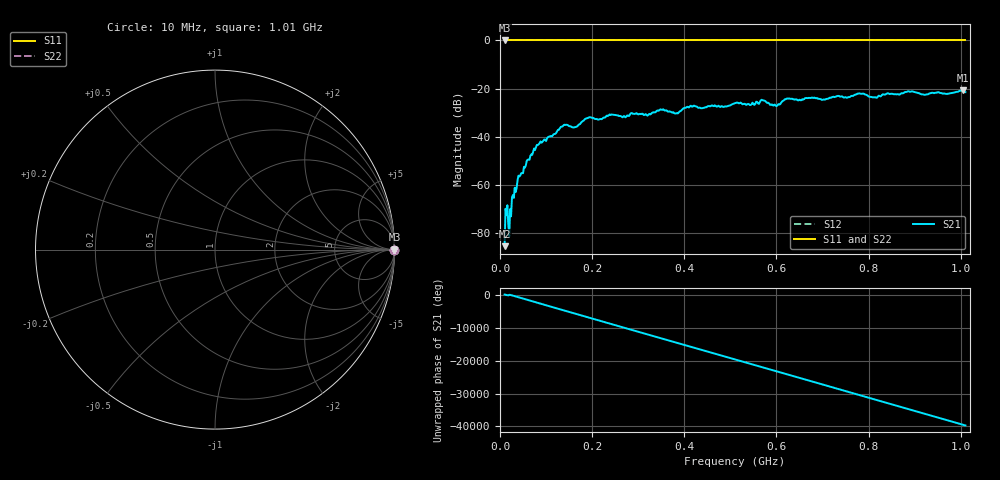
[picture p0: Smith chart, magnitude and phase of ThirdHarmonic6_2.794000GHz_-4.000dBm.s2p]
! 8/17/2025 7:14:22 AM
! C:\ANRITSUVNA\TEMP\TEMP.S2P
! CHANNEL.1
! TR.MEASUREMENT
! RAW.DATA
! RF.CORRECTION.OFF
! AVERAGING.OFF
! IF.BANDWIDTH: 5KHZ
! SWEEPTYPE:  FREQ.SWEEP(Linear)
! Reference Plane Port Info
! PORT:  PORT1  PORT2
! DISTANCE:  0  m  0  m
! TIME:  0  s  0  s
! PHASE.OFFSET:  0  deg.  0  deg.
! LOSS:  0  dB  0  dB
! REF.LOSS:  0  dB  0  dB
! REF.FREQ:  0  Hz  0  Hz
! Power Info
! POWER:  -20  dBm  -20  dBm
! EFF.POWER:  -20  dBm  -20  dBm
! SOURCE.ATTEN:  0  dB  0  dB
! TEST.ATTEN:  0  dB  0  dB
# GHZ S RI R 50.0
! FREQ.GHZ  S11RE  S11IM  S21RE  S21IM  S12RE  S12IM  S22RE  S22IM
!; PortSelection: Port_12
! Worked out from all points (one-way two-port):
!   501 points, 10 MHz to 1.01 GHz, reference 50 ohm
!   highest |S21| = -20.77 dB at 1.004 GHz (marker M1); lowest = -85.4 dB at 10 MHz (marker M2)
!   lowest |S11| = 0.0 dB at 10 MHz (marker M3)
!   |S11| at or under -10 dB: nowhere
!   |S22| runs from 0.0 to 0.0 dB; largest |S21 - S12| = 1.1
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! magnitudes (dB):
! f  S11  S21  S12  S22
! 10 MHz  0.0  -85.4  0.0  0.0
! 14 MHz  0.0  -72.4  0.0  0.0
! 22 MHz  0.0  -70.0  0.0  0.0
! 30 MHz  0.0  -65.4  0.0  0.0
! 42 MHz  0.0  -56.5  0.0  0.0
! 78 MHz  0.0  -44.4  0.0  0.0
! 136 MHz  0.0  -35.7  0.0  0.0
! 162 MHz  0.0  -36.0  0.0  0.0
! 178 MHz  0.0  -33.7  0.0  0.0
! 194 MHz  0.0  -31.8  0.0  0.0
! 322 MHz  0.0  -30.8  0.0  0.0
! 344 MHz  0.0  -29.2  0.0  0.0
! 382 MHz  0.0  -30.3  0.0  0.0
! 416 MHz  0.0  -27.4  0.0  0.0
! 510 MHz  0.0  -26.0  0.0  0.0
! 570 MHz  0.0  -24.8  0.0  0.0
! 598 MHz  0.0  -26.9  0.0  0.0
! 622 MHz  0.0  -24.2  0.0  0.0
! 678 MHz  0.0  -23.7  0.0  0.0
! 844 MHz  0.0  -22.1  0.0  0.0
! 1.004 GHz  0.0  -20.8  0.0  0.0
! 1.01 GHz  0.0  -21.5  0.0  0.0
